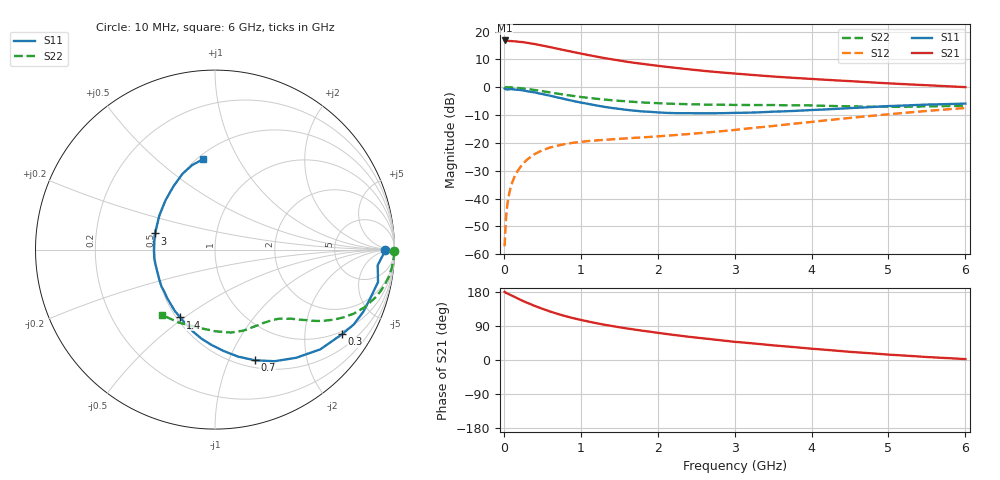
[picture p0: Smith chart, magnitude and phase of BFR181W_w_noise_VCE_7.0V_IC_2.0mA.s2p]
! Infineon Technologies  Discrete & RF Semiconductors
! BFR181W
! VCE =  7.0 V,  IC =  2.0 mA
! Common Emitter S-Parameters:  Jan 2017
# GHz  S  MA  R  50
!  f  S11  S21  S12  S22
! GHz  MAG  ANG  MAG  ANG  MAG  ANG  MAG  ANG
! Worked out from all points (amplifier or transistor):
!   77 points, 10 MHz to 6 GHz, reference 50 ohm
!   highest |S21| = 16.8 dB at 10 MHz (marker M1)
!   |S21| within 3 dB of that: start of sweep to 702.7 MHz
!   unconditionally stable (mu >= 1): 1.887 GHz to 3.947 GHz
!   at 130 MHz: K = 0.08, MSG = 24.6 dB, |S12| = -32.7 dB
!   at 2.2 GHz: K = 1.07, MAG = 10.5 dB, |S12| = -17.2 dB
!   at 6 GHz: K = 0.84, MSG = 3.7 dB, |S12| = -7.5 dB
!   lowest NFmin = 0.84 dB at 450 MHz
!   S11 on the Smith chart (normalised r, x): 10 MHz: 38, -4; 300 MHz: 0.90, -3.06; 700 MHz: 0.58, -1.25; 1.4 GHz: 0.52, -0.48; 3 GHz: 0.49, +0.10; 6 GHz: 0.53, +0.73
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0.01  0.9489 -0.3  6.915 179.9  0.0014 100.0  1 -0.6
0.02  0.9239 -3.5  6.816 178.0  0.0028 84.9  1 -0.9
0.03  0.9194 -4.2  6.806 177.1  0.0048 85.0  0.9989 -1.6
0.04  0.915 -4.8  6.798 176.2  0.0067 85.1  0.9974 -2.2
0.09  0.9224 -10.2  6.74 171.3  0.0161 83.9  0.9912 -5.3
0.15  0.9062 -17.5  6.655 165.6  0.0266 79.7  0.9808 -8.7
0.2  0.8964 -22.6  6.536 160.4  0.0347 77.1  0.9667 -11.5
0.3  0.8503 -33.7  6.282 151.2  0.0498 70.0  0.9327 -16.6
0.4  0.808 -43.5  5.979 142.8  0.0629 64.9  0.8925 -21.1
0.5  0.7536 -53.1  5.606 135.2  0.0738 60.1  0.8498 -24.9
0.6  0.7049 -61.9  5.258 128.1  0.0827 56.1  0.8063 -28.0
0.7  0.6549 -70.3  4.904 121.6  0.0894 53.4  0.7671 -30.6
0.9  0.5665 -85.2  4.292 110.5  0.1007 48.7  0.6983 -34.7
1.1  0.5008 -98.9  3.78 101.5  0.1082 46.2  0.6444 -37.6
1.4  0.4249 -117.1  3.178 89.9  0.1159 44.5  0.5847 -41.4
1.7  0.3792 -134.7  2.742 80.3  0.1233 45.1  0.5446 -45.0
2.1  0.347 -155.9  2.337 69.1  0.1343 47.4  0.5106 -49.9
3  0.3467 165.0  1.762 48.0  0.171 53.5  0.4813 -63.0
3.1  0.3477 161.6  1.718 46.3  0.1771 54.0  0.4801 -64.5
4.1  0.3948 132.4  1.382 28.3  0.2467 55.3  0.4661 -81.3
5.1  0.4639 111.6  1.155 13.0  0.3361 50.6  0.4443 -105.6
6  0.5083 97.3  1.005 2.4  0.424 42.7  0.469 -129.2
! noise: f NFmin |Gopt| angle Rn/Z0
0.45  0.84  0.56  18  0.32
0.9  0.9  0.51  33  0.3
1.9  1.35  0.31  81  0.23
2.4  1.58  0.27  95  0.25
